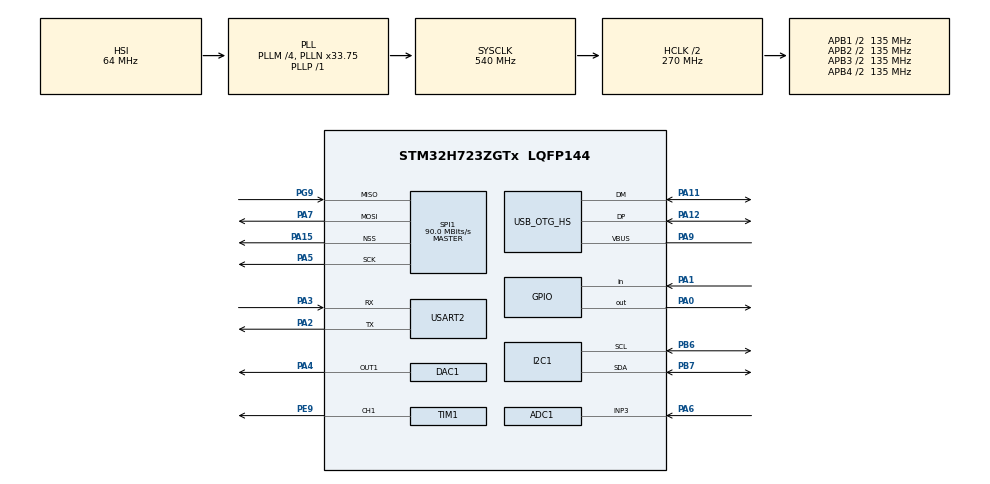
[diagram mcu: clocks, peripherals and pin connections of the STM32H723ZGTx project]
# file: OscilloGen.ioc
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ADC1.Channel-1\#ChannelRegularConversion=ADC_CHANNEL_3
ADC1.ContinuousConvMode=ENABLE
ADC1.ConversionDataManagement=ADC_CONVERSIONDATA_DMA_CIRCULAR
ADC1.NbrOfConversionFlag=1
ADC1.OffsetNumber-1\#ChannelRegularConversion=ADC_OFFSET_NONE
ADC1.OffsetSignedSaturation-1\#ChannelRegularConversion=DISABLE
ADC1.Rank-1\#ChannelRegularConversion=1
ADC1.SamplingTime-1\#ChannelRegularConversion=ADC_SAMPLETIME_1CYCLE_5
ADC1.master=1
CORTEX_M7.default_mode_Activation=1
DAC1.DAC_Channel-DAC_OUT1=DAC_CHANNEL_1
DAC1.DAC_Trigger-DAC_OUT1=DAC_TRIGGER_T2_TRGO
Dma.ADC1.5.Direction=DMA_PERIPH_TO_MEMORY
Dma.ADC1.5.EventEnable=DISABLE
Dma.ADC1.5.FIFOMode=DMA_FIFOMODE_DISABLE
Dma.ADC1.5.Instance=DMA1_Stream5
Dma.ADC1.5.MemDataAlignment=DMA_MDATAALIGN_HALFWORD
Dma.ADC1.5.MemInc=DMA_MINC_ENABLE
Dma.ADC1.5.Mode=DMA_CIRCULAR
Dma.ADC1.5.PeriphDataAlignment=DMA_PDATAALIGN_HALFWORD
Dma.ADC1.5.PeriphInc=DMA_PINC_DISABLE
Dma.ADC1.5.Polarity=HAL_DMAMUX_REQ_GEN_RISING
Dma.ADC1.5.Priority=DMA_PRIORITY_LOW
Dma.ADC1.5.RequestNumber=1
Dma.ADC1.5.SignalID=NONE
Dma.ADC1.5.SyncEnable=DISABLE
Dma.ADC1.5.SyncPolarity=HAL_DMAMUX_SYNC_NO_EVENT
Dma.ADC1.5.SyncRequestNumber=1
Dma.ADC1.5.SyncSignalID=NONE
Dma.CORDIC_RD.7.Direction=DMA_PERIPH_TO_MEMORY
Dma.CORDIC_RD.7.EventEnable=DISABLE
Dma.CORDIC_RD.7.FIFOMode=DMA_FIFOMODE_DISABLE
Dma.CORDIC_RD.7.Instance=DMA1_Stream7
Dma.CORDIC_RD.7.MemDataAlignment=DMA_MDATAALIGN_BYTE
Dma.CORDIC_RD.7.MemInc=DMA_MINC_ENABLE
Dma.CORDIC_RD.7.Mode=DMA_CIRCULAR
Dma.CORDIC_RD.7.PeriphDataAlignment=DMA_PDATAALIGN_BYTE
Dma.CORDIC_RD.7.PeriphInc=DMA_PINC_DISABLE
Dma.CORDIC_RD.7.Polarity=HAL_DMAMUX_REQ_GEN_RISING
Dma.CORDIC_RD.7.Priority=DMA_PRIORITY_LOW
Dma.CORDIC_RD.7.RequestNumber=1
Dma.CORDIC_RD.7.SignalID=NONE
Dma.CORDIC_RD.7.SyncEnable=DISABLE
Dma.CORDIC_RD.7.SyncPolarity=HAL_DMAMUX_SYNC_NO_EVENT
Dma.CORDIC_RD.7.SyncRequestNumber=1
Dma.CORDIC_RD.7.SyncSignalID=NONE
Dma.CORDIC_WR.8.Direction=DMA_MEMORY_TO_PERIPH
Dma.CORDIC_WR.8.EventEnable=DISABLE
Dma.CORDIC_WR.8.FIFOMode=DMA_FIFOMODE_DISABLE
Dma.CORDIC_WR.8.Instance=DMA2_Stream0
Dma.CORDIC_WR.8.MemDataAlignment=DMA_MDATAALIGN_BYTE
Dma.CORDIC_WR.8.MemInc=DMA_MINC_ENABLE
Dma.CORDIC_WR.8.Mode=DMA_CIRCULAR
Dma.CORDIC_WR.8.PeriphDataAlignment=DMA_PDATAALIGN_BYTE
Dma.CORDIC_WR.8.PeriphInc=DMA_PINC_DISABLE
Dma.CORDIC_WR.8.Polarity=HAL_DMAMUX_REQ_GEN_RISING
Dma.CORDIC_WR.8.Priority=DMA_PRIORITY_LOW
Dma.CORDIC_WR.8.RequestNumber=1
Dma.CORDIC_WR.8.SignalID=NONE
Dma.CORDIC_WR.8.SyncEnable=DISABLE
Dma.CORDIC_WR.8.SyncPolarity=HAL_DMAMUX_SYNC_NO_EVENT
Dma.CORDIC_WR.8.SyncRequestNumber=1
Dma.CORDIC_WR.8.SyncSignalID=NONE
Dma.DAC1_CH1.6.Direction=DMA_MEMORY_TO_PERIPH
Dma.DAC1_CH1.6.EventEnable=DISABLE
Dma.DAC1_CH1.6.FIFOMode=DMA_FIFOMODE_DISABLE
Dma.DAC1_CH1.6.Instance=DMA1_Stream6
Dma.DAC1_CH1.6.MemDataAlignment=DMA_MDATAALIGN_WORD
Dma.DAC1_CH1.6.MemInc=DMA_MINC_ENABLE
Dma.DAC1_CH1.6.Mode=DMA_CIRCULAR
Dma.DAC1_CH1.6.PeriphDataAlignment=DMA_PDATAALIGN_WORD
Dma.DAC1_CH1.6.PeriphInc=DMA_PINC_DISABLE
Dma.DAC1_CH1.6.Polarity=HAL_DMAMUX_REQ_GEN_RISING
Dma.DAC1_CH1.6.Priority=DMA_PRIORITY_LOW
Dma.DAC1_CH1.6.RequestNumber=1
Dma.DAC1_CH1.6.SignalID=NONE
Dma.DAC1_CH1.6.SyncEnable=DISABLE
Dma.DAC1_CH1.6.SyncPolarity=HAL_DMAMUX_SYNC_NO_EVENT
Dma.DAC1_CH1.6.SyncRequestNumber=1
Dma.DAC1_CH1.6.SyncSignalID=NONE
Dma.Request0=TIM1_CH1
Dma.Request1=USART2_TX
Dma.Request2=USART2_RX
Dma.Request3=SPI1_TX
Dma.Request4=SPI1_RX
Dma.Request5=ADC1
Dma.Request6=DAC1_CH1
Dma.Request7=CORDIC_RD
Dma.Request8=CORDIC_WR
Dma.SPI1_RX.4.Direction=DMA_PERIPH_TO_MEMORY
Dma.SPI1_RX.4.EventEnable=DISABLE
Dma.SPI1_RX.4.FIFOMode=DMA_FIFOMODE_DISABLE
Dma.SPI1_RX.4.Instance=DMA1_Stream4
Dma.SPI1_RX.4.MemDataAlignment=DMA_MDATAALIGN_BYTE
Dma.SPI1_RX.4.MemInc=DMA_MINC_ENABLE
Dma.SPI1_RX.4.Mode=DMA_NORMAL
Dma.SPI1_RX.4.PeriphDataAlignment=DMA_PDATAALIGN_BYTE
Dma.SPI1_RX.4.PeriphInc=DMA_PINC_DISABLE
Dma.SPI1_RX.4.Polarity=HAL_DMAMUX_REQ_GEN_RISING
Dma.SPI1_RX.4.Priority=DMA_PRIORITY_MEDIUM
Dma.SPI1_RX.4.RequestNumber=1
Dma.SPI1_RX.4.SignalID=NONE
Dma.SPI1_RX.4.SyncEnable=DISABLE
Dma.SPI1_RX.4.SyncPolarity=HAL_DMAMUX_SYNC_NO_EVENT
Dma.SPI1_RX.4.SyncRequestNumber=1
Dma.SPI1_RX.4.SyncSignalID=NONE
Dma.SPI1_TX.3.Direction=DMA_MEMORY_TO_PERIPH
Dma.SPI1_TX.3.EventEnable=DISABLE
Dma.SPI1_TX.3.FIFOMode=DMA_FIFOMODE_DISABLE
Dma.SPI1_TX.3.Instance=DMA1_Stream3
Dma.SPI1_TX.3.MemDataAlignment=DMA_MDATAALIGN_BYTE
Dma.SPI1_TX.3.MemInc=DMA_MINC_ENABLE
Dma.SPI1_TX.3.Mode=DMA_NORMAL
Dma.SPI1_TX.3.PeriphDataAlignment=DMA_PDATAALIGN_BYTE
Dma.SPI1_TX.3.PeriphInc=DMA_PINC_DISABLE
Dma.SPI1_TX.3.Polarity=HAL_DMAMUX_REQ_GEN_RISING
Dma.SPI1_TX.3.Priority=DMA_PRIORITY_MEDIUM
Dma.SPI1_TX.3.RequestNumber=1
Dma.SPI1_TX.3.SignalID=NONE
Dma.SPI1_TX.3.SyncEnable=DISABLE
Dma.SPI1_TX.3.SyncPolarity=HAL_DMAMUX_SYNC_NO_EVENT
Dma.SPI1_TX.3.SyncRequestNumber=1
Dma.SPI1_TX.3.SyncSignalID=NONE
Dma.TIM1_CH1.0.Direction=DMA_MEMORY_TO_PERIPH
Dma.TIM1_CH1.0.EventEnable=DISABLE
Dma.TIM1_CH1.0.FIFOMode=DMA_FIFOMODE_DISABLE
Dma.TIM1_CH1.0.Instance=DMA1_Stream0
Dma.TIM1_CH1.0.MemDataAlignment=DMA_MDATAALIGN_HALFWORD
Dma.TIM1_CH1.0.MemInc=DMA_MINC_ENABLE
Dma.TIM1_CH1.0.Mode=DMA_NORMAL
Dma.TIM1_CH1.0.PeriphDataAlignment=DMA_PDATAALIGN_HALFWORD
Dma.TIM1_CH1.0.PeriphInc=DMA_PINC_DISABLE
Dma.TIM1_CH1.0.Polarity=HAL_DMAMUX_REQ_GEN_RISING
Dma.TIM1_CH1.0.Priority=DMA_PRIORITY_LOW
Dma.TIM1_CH1.0.RequestNumber=1
Dma.TIM1_CH1.0.SignalID=NONE
Dma.TIM1_CH1.0.SyncEnable=DISABLE
Dma.TIM1_CH1.0.SyncPolarity=HAL_DMAMUX_SYNC_NO_EVENT
Dma.TIM1_CH1.0.SyncRequestNumber=1
Dma.TIM1_CH1.0.SyncSignalID=NONE
Dma.USART2_RX.2.Direction=DMA_PERIPH_TO_MEMORY
Dma.USART2_RX.2.EventEnable=DISABLE
Dma.USART2_RX.2.FIFOMode=DMA_FIFOMODE_DISABLE
Dma.USART2_RX.2.Instance=DMA1_Stream2
Dma.USART2_RX.2.MemDataAlignment=DMA_MDATAALIGN_BYTE
Dma.USART2_RX.2.MemInc=DMA_MINC_ENABLE
Dma.USART2_RX.2.Mode=DMA_CIRCULAR
Dma.USART2_RX.2.PeriphDataAlignment=DMA_PDATAALIGN_BYTE
Dma.USART2_RX.2.PeriphInc=DMA_PINC_DISABLE
Dma.USART2_RX.2.Polarity=HAL_DMAMUX_REQ_GEN_RISING
Dma.USART2_RX.2.Priority=DMA_PRIORITY_LOW
Dma.USART2_RX.2.RequestNumber=1
Dma.USART2_RX.2.SignalID=NONE
Dma.USART2_RX.2.SyncEnable=DISABLE
Dma.USART2_RX.2.SyncPolarity=HAL_DMAMUX_SYNC_NO_EVENT
Dma.USART2_RX.2.SyncRequestNumber=1
Dma.USART2_RX.2.SyncSignalID=NONE
Dma.USART2_TX.1.Direction=DMA_MEMORY_TO_PERIPH
Dma.USART2_TX.1.EventEnable=DISABLE
Dma.USART2_TX.1.FIFOMode=DMA_FIFOMODE_DISABLE
Dma.USART2_TX.1.Instance=DMA1_Stream1
Dma.USART2_TX.1.MemDataAlignment=DMA_MDATAALIGN_BYTE
Dma.USART2_TX.1.MemInc=DMA_MINC_ENABLE
Dma.USART2_TX.1.Mode=DMA_CIRCULAR
Dma.USART2_TX.1.PeriphDataAlignment=DMA_PDATAALIGN_BYTE
Dma.USART2_TX.1.PeriphInc=DMA_PINC_DISABLE
Dma.USART2_TX.1.Polarity=HAL_DMAMUX_REQ_GEN_RISING
Dma.USART2_TX.1.Priority=DMA_PRIORITY_LOW
Dma.USART2_TX.1.RequestNumber=1
Dma.USART2_TX.1.SignalID=NONE
Dma.USART2_TX.1.SyncEnable=DISABLE
Dma.USART2_TX.1.SyncPolarity=HAL_DMAMUX_SYNC_NO_EVENT
Dma.USART2_TX.1.SyncRequestNumber=1
Dma.USART2_TX.1.SyncSignalID=NONE
FREERTOS.Tasks01=defaultTask,24,128,StartDefaultTask,Default,NULL,Dynamic,NULL,NULL
I2C1.Timing=0x20B0BBFF
IWDG1.Prescaler=IWDG_PRESCALER_4
IWDG1.Reload=420
IWDG1.Window=200
Mcu.Family=STM32H7
Mcu.Name=STM32H723ZGTx
Mcu.Package=LQFP144
NUCLEO-H723ZG.BUTTON=0
NUCLEO-H723ZG.LD1=false
NUCLEO-H723ZG.LD2=false
NUCLEO-H723ZG.LD3=false
NUCLEO-H723ZG.VCP=false
NVIC.ADC_IRQn=true\:5\:0\:false\:false\:true\:true\:true\:true\:true
NVIC.CORDIC_IRQn=true\:5\:0\:false\:false\:true\:true\:true\:true\:true
NVIC.DMA1_Stream0_IRQn=true\:5\:0\:false\:false\:true\:true\:false\:true\:true
NVIC.DMA1_Stream1_IRQn=true\:5\:0\:false\:false\:true\:true\:false\:true\:true
NVIC.DMA1_Stream2_IRQn=true\:5\:0\:false\:false\:true\:true\:false\:true\:true
NVIC.DMA1_Stream3_IRQn=true\:5\:0\:false\:false\:true\:true\:false\:true\:true
NVIC.DMA1_Stream4_IRQn=true\:5\:0\:false\:false\:true\:true\:false\:true\:true
NVIC.DMA1_Stream5_IRQn=true\:5\:0\:false\:false\:true\:true\:false\:true\:true
NVIC.DMA1_Stream6_IRQn=true\:5\:0\:false\:false\:true\:true\:false\:true\:true
NVIC.DMA1_Stream7_IRQn=true\:5\:0\:false\:false\:true\:true\:false\:true\:true
NVIC.DMA2_Stream0_IRQn=true\:5\:0\:false\:false\:true\:true\:false\:true\:true
NVIC.OTG_HS_IRQn=true\:5\:0\:false\:false\:true\:true\:false\:true\:true
NVIC.PriorityGroup=NVIC_PRIORITYGROUP_4
NVIC.SPI1_IRQn=true\:5\:0\:false\:false\:true\:true\:true\:true\:true
NVIC.TIM2_IRQn=true\:5\:0\:false\:false\:true\:true\:true\:true\:true
NVIC.TIM4_IRQn=true\:15\:0\:false\:false\:true\:false\:false\:true\:true
NVIC.TimeBase=TIM4_IRQn
NVIC.TimeBaseIP=TIM4
NVIC.USART2_IRQn=true\:5\:0\:false\:false\:true\:true\:true\:true\:true
PA0.Signal=GPIO_Output
PA1.Signal=GPIO_Input
PA11.Mode=Device_Only_FS
PA11.Signal=USB_OTG_HS_DM
PA12.Mode=Device_Only_FS
PA12.Signal=USB_OTG_HS_DP
PA13(JTMS/SWDIO).GPIO_Label=SWDIO
PA13(JTMS/SWDIO).Signal=DEBUG_JTMS-SWDIO
PA14(JTCK/SWCLK).GPIO_Label=SWCLK
PA14(JTCK/SWCLK).Signal=DEBUG_JTCK-SWCLK
PA15(JTDI).Mode=NSS_Signal_Hard_Output
PA15(JTDI).Signal=SPI1_NSS
PA2.Mode=Asynchronous
PA2.Signal=USART2_TX
PA3.Mode=Asynchronous
PA3.Signal=USART2_RX
PA4.Signal=COMP_DAC11_group
PA5.Mode=Full_Duplex_Master
PA5.Signal=SPI1_SCK
PA6.Signal=ADCx_INP3
PA7.Mode=Full_Duplex_Master
PA7.Signal=SPI1_MOSI
PA9.Mode=Activate_VBUS_FS
PA9.Signal=USB_OTG_HS_VBUS
PB6.Mode=I2C
PB6.Signal=I2C1_SCL
PB7.Mode=I2C
PB7.Signal=I2C1_SDA
PC14-OSC32_IN.Signal=RCC_OSC32_IN
PC15-OSC32_OUT.Signal=RCC_OSC32_OUT
PE9.Signal=S_TIM1_CH1
PG9.Mode=Full_Duplex_Master
PG9.Signal=SPI1_MISO
ProjectManager.HeapSize=0x200
ProjectManager.StackSize=0x400
ProjectManager.TargetToolchain=STM32CubeIDE
RCC.ADCFreq_Value=96000000
RCC.APB1Freq_Value=135000000
RCC.APB2Freq_Value=135000000
RCC.APB3Freq_Value=135000000
RCC.APB4Freq_Value=135000000
RCC.CortexFreq_Value=540000000
RCC.D1PPRE=RCC_APB3_DIV2
RCC.D2PPRE1=RCC_APB1_DIV2
RCC.D2PPRE2=RCC_APB2_DIV2
RCC.D3PPRE=RCC_APB4_DIV2
RCC.DIVM1=4
RCC.DIVM2=4
RCC.DIVN1=33
RCC.DIVN2=12
RCC.DIVP1=1
RCC.DIVQ1=3
RCC.HCLKFreq_Value=270000000
RCC.HPRE=RCC_HCLK_DIV2
RCC.PLL2FRACN=0
RCC.PLL3FRACN=0
RCC.PLLFRACN=6144
RCC.SYSCLKFreq_VALUE=540000000
RCC.SYSCLKSource=RCC_SYSCLKSOURCE_PLLCLK
RCC.USBCLockSelection=RCC_USBCLKSOURCE_HSI48
RCC.USBFreq_Value=48000000
SH.ADCx_INP3.0=ADC1_INP3,IN3-Single-Ended
SH.COMP_DAC11_group.0=DAC1_OUT1,DAC_OUT1
SH.S_TIM1_CH1.0=TIM1_CH1,PWM Generation1 CH1
SPI1.BaudRatePrescaler=SPI_BAUDRATEPRESCALER_2
SPI1.CalculateBaudRate=90.0 MBits/s
SPI1.DataSize=SPI_DATASIZE_32BIT
SPI1.Direction=SPI_DIRECTION_2LINES
SPI1.Mode=SPI_MODE_MASTER
SPI1.VirtualNSS=VM_NSSHARD
SPI1.VirtualType=VM_MASTER
STMicroelectronics.X-CUBE-ALGOBUILD.1.4.0.LibraryCcDSPOoLibraryJjDSPOoLibrary=true
TIM1.Channel-PWM\ Generation1\ CH1=TIM_CHANNEL_1
TIM1.Period=10-1
TIM1.Prescaler=1020-1
TIM2.Period=100-1
TIM2.Prescaler=270-1
TIM2.TIM_MasterOutputTrigger=TIM_TRGO_UPDATE
USART2.VirtualMode-Asynchronous=VM_ASYNC
USB_DEVICE.CLASS_NAME_HS=CDC
USB_DEVICE.VirtualMode=Cdc
USB_DEVICE.VirtualModeHS=Cdc_HS
USB_OTG_HS.VirtualMode-Device_Only_FS=Device_Only_FS
VP_CORDIC_VS_CORDIC.Mode=CORDIC_Activate
VP_FREERTOS_VS_CMSIS_V2.Mode=CMSIS_V2
VP_IWDG1_VS_IWDG.Mode=IWDG_Activate
VP_MEMORYMAP_VS_MEMORYMAP.Mode=CurAppReg
VP_STMicroelectronics.X-CUBE-ALGOBUILD_VS_DSPOoLibraryJjLibrary_1.4.0_1.4.0.Mode=DSPOoLibraryJjLibrary
VP_SYS_VS_tim4.Mode=TIM4
VP_TIM1_VS_ClockSourceINT.Mode=Internal
VP_TIM2_VS_ClockSourceINT.Mode=Internal
VP_USB_DEVICE_VS_USB_DEVICE_CDC_HS.Mode=CDC_HS
board=NUCLEO-H723ZG

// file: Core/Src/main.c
/* USER CODE BEGIN Header */
/**
  ******************************************************************************
  * @file           : main.c
  * @brief          : Main program body
  ******************************************************************************
  * @attention
  *
  * Copyright (c) 2025 STMicroelectronics.
  * All rights reserved.
  *
  * This software is licensed under terms that can be found in the LICENSE file
  * in the root directory of this software component.
  * If no LICENSE file comes with this software, it is provided AS-IS.
  *
  ******************************************************************************
  */
/* USER CODE END Header */
#include "main.h"
#include "cmsis_os.h"
#include "adc.h"
#include "cordic.h"
#include "dac.h"
#include "dma.h"
#include "i2c.h"
#include "iwdg.h"
#include "memorymap.h"
#include "spi.h"
#include "tim.h"
#include "usart.h"
#include "usb_device.h"
#include "gpio.h"

void SystemClock_Config(void);
static void MPU_Config(void);
void MX_FREERTOS_Init(void);

int main(void)
{

  /* USER CODE BEGIN 1 */
  dfu_boot_flag = (uint32_t*) (&_bflag); // set in linker script for bootloader
  /* USER CODE END 1 */

  /* MPU Configuration--------------------------------------------------------*/
  MPU_Config();

  /* MCU Configuration--------------------------------------------------------*/

  /* Reset of all peripherals, Initializes the Flash interface and the Systick. */
  HAL_Init();

  /* Configure the system clock */
  SystemClock_Config();

  /* Initialize all configured peripherals */
  MX_GPIO_Init();
  MX_DMA_Init();
  MX_TIM1_Init();
  MX_USART2_UART_Init();
  MX_SPI1_Init();
  MX_I2C1_Init();
  MX_IWDG1_Init();
  MX_ADC1_Init();
  MX_DAC1_Init();
  MX_TIM2_Init();
  MX_CORDIC_Init();

  /* Init scheduler */
  osKernelInitialize();

  /* Call init function for freertos objects (in cmsis_os2.c) */
  MX_FREERTOS_Init();

  /* Start scheduler */
  osKernelStart();

  /* We should never get here as control is now taken by the scheduler */

  /* Infinite loop */

}

void SystemClock_Config(void)
{
  RCC_OscInitTypeDef RCC_OscInitStruct = {0};
  RCC_ClkInitTypeDef RCC_ClkInitStruct = {0};

  /** Supply configuration update enable
  */
  HAL_PWREx_ConfigSupply(PWR_LDO_SUPPLY);

  /** Configure the main internal regulator output voltage
  */
  __HAL_PWR_VOLTAGESCALING_CONFIG(PWR_REGULATOR_VOLTAGE_SCALE0);

  while(!__HAL_PWR_GET_FLAG(PWR_FLAG_VOSRDY)) {}

  /** Initializes the RCC Oscillators according to the specified parameters
  * in the RCC_OscInitTypeDef structure.
  */
  RCC_OscInitStruct.OscillatorType = RCC_OSCILLATORTYPE_HSI48|RCC_OSCILLATORTYPE_HSI
                              |RCC_OSCILLATORTYPE_LSI;
  RCC_OscInitStruct.HSIState = RCC_HSI_DIV1;
  RCC_OscInitStruct.HSICalibrationValue = 64;
  RCC_OscInitStruct.LSIState = RCC_LSI_ON;
  RCC_OscInitStruct.HSI48State = RCC_HSI48_ON;
  RCC_OscInitStruct.PLL.PLLState = RCC_PLL_ON;
  RCC_OscInitStruct.PLL.PLLSource = RCC_PLLSOURCE_HSI;
  RCC_OscInitStruct.PLL.PLLM = 4;
  RCC_OscInitStruct.PLL.PLLN = 33;
  RCC_OscInitStruct.PLL.PLLP = 1;
  RCC_OscInitStruct.PLL.PLLQ = 3;
  RCC_OscInitStruct.PLL.PLLR = 2;
  RCC_OscInitStruct.PLL.PLLRGE = RCC_PLL1VCIRANGE_3;
  RCC_OscInitStruct.PLL.PLLVCOSEL = RCC_PLL1VCOWIDE;
  RCC_OscInitStruct.PLL.PLLFRACN = 6144;
  if (HAL_RCC_OscConfig(&RCC_OscInitStruct) != HAL_OK)
  {
    Error_Handler();
  }

  /** Initializes the CPU, AHB and APB buses clocks
  */
  RCC_ClkInitStruct.ClockType = RCC_CLOCKTYPE_HCLK|RCC_CLOCKTYPE_SYSCLK
                              |RCC_CLOCKTYPE_PCLK1|RCC_CLOCKTYPE_PCLK2
                              |RCC_CLOCKTYPE_D3PCLK1|RCC_CLOCKTYPE_D1PCLK1;
  RCC_ClkInitStruct.SYSCLKSource = RCC_SYSCLKSOURCE_PLLCLK;
  RCC_ClkInitStruct.SYSCLKDivider = RCC_SYSCLK_DIV1;
  RCC_ClkInitStruct.AHBCLKDivider = RCC_HCLK_DIV2;
  RCC_ClkInitStruct.APB3CLKDivider = RCC_APB3_DIV2;
  RCC_ClkInitStruct.APB1CLKDivider = RCC_APB1_DIV2;
  RCC_ClkInitStruct.APB2CLKDivider = RCC_APB2_DIV2;
  RCC_ClkInitStruct.APB4CLKDivider = RCC_APB4_DIV2;

  if (HAL_RCC_ClockConfig(&RCC_ClkInitStruct, FLASH_LATENCY_3) != HAL_OK)
  {
    Error_Handler();
  }
}

 /* MPU Configuration */

void MPU_Config(void)
{
  MPU_Region_InitTypeDef MPU_InitStruct = {0};

  /* Disables the MPU */
  HAL_MPU_Disable();

  /** Initializes and configures the Region and the memory to be protected
  */
  MPU_InitStruct.Enable = MPU_REGION_ENABLE;
  MPU_InitStruct.Number = MPU_REGION_NUMBER0;
  MPU_InitStruct.BaseAddress = 0x0;
  MPU_InitStruct.Size = MPU_REGION_SIZE_4GB;
  MPU_InitStruct.SubRegionDisable = 0x87;
  MPU_InitStruct.TypeExtField = MPU_TEX_LEVEL0;
  MPU_InitStruct.AccessPermission = MPU_REGION_NO_ACCESS;
  MPU_InitStruct.DisableExec = MPU_INSTRUCTION_ACCESS_DISABLE;
  MPU_InitStruct.IsShareable = MPU_ACCESS_SHAREABLE;
  MPU_InitStruct.IsCacheable = MPU_ACCESS_NOT_CACHEABLE;
  MPU_InitStruct.IsBufferable = MPU_ACCESS_NOT_BUFFERABLE;

  HAL_MPU_ConfigRegion(&MPU_InitStruct);
  /* Enables the MPU */
  HAL_MPU_Enable(MPU_PRIVILEGED_DEFAULT);

}

void HAL_TIM_PeriodElapsedCallback(TIM_HandleTypeDef *htim)
{
  if (htim->Instance == TIM4)
  {
    HAL_IncTick();
  }
}

void Error_Handler(void)
{
  __disable_irq();
  while (1)
  {
  }
}

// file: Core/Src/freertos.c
/* USER CODE BEGIN Header */
/**
  ******************************************************************************
  * File Name          : freertos.c
  * Description        : Code for freertos applications
  ******************************************************************************
  * @attention
  *
  * Copyright (c) 2025 STMicroelectronics.
  * All rights reserved.
  *
  * This software is licensed under terms that can be found in the LICENSE file
  * in the root directory of this software component.
  * If no LICENSE file comes with this software, it is provided AS-IS.
  *
  ******************************************************************************
  */
/* USER CODE END Header */

#include "FreeRTOS.h"
#include "task.h"
#include "main.h"
#include "cmsis_os.h"

/* USER CODE BEGIN Variables */

const osThreadAttr_t funcGeneratorTask_attributes = {
  .name = "Function_Generator_Task",
  .stack_size = 128 * 4,
  .priority = (osPriority_t) osPriorityNormal1,
};

const osThreadAttr_t funcAnalyzerTask_attributes = {
  .name = "Function_Analyzer_Task",
  .stack_size = 128 * 4,
  .priority = (osPriority_t) osPriorityNormal1,
};

const osThreadAttr_t lcdTask_attributes = {
  .name = "LCD_Task",
  .stack_size = 128 * 4,
  .priority = (osPriority_t) osPriorityNormal,
};

const osThreadAttr_t serialConnectionTask_attributes = {
  .name = "Serial_Connection_Task",
  .stack_size = 128 * 4,
  .priority = (osPriority_t) osPriorityNormal2,
};

/* USER CODE END Variables */

/* USER CODE BEGIN FunctionPrototypes */
extern void System_Init(void);

extern void FuncGeneratorTask(void *argument);
extern void FuncAnalyzerTask(void *argument);
extern void LcdTask(void *argument);
extern void SerialConnctionTask(void *argument);

/* USER CODE END FunctionPrototypes */
extern void MX_USB_DEVICE_Init(void);
void MX_FREERTOS_Init(void); /* (MISRA C 2004 rule 8.1) */

void MX_FREERTOS_Init(void) {
  /* USER CODE BEGIN Init */
  System_Init();
  /* USER CODE END Init */

  /* Create the thread(s) */
  /* creation of defaultTask */

  /* USER CODE BEGIN RTOS_THREADS */
  /* add threads, ... */
  serialConnectionTaskHandle = osThreadNew(SerialConnctionTask, NULL, &serialConnectionTask_attributes);
  lcdTaskHandle              = osThreadNew(LcdTask, NULL, &lcdTask_attributes);
  funcGeneratorTaskHandle    = osThreadNew(FuncGeneratorTask, NULL, &funcGeneratorTask_attributes);
  funcAnalyzerTaskHandle     = osThreadNew(FuncAnalyzerTask, NULL, &funcAnalyzerTask_attributes);

  /* USER CODE END RTOS_THREADS */

}

  /* init code for USB_DEVICE */
